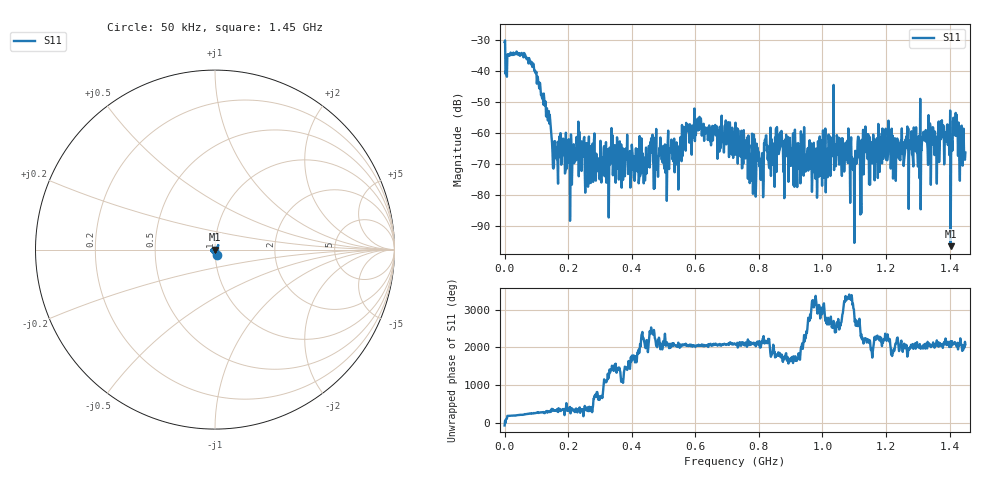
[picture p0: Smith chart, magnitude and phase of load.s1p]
! Created with skrf 1.11.0 (http://scikit-rf.org).
# Hz S RI R 50.0
!freq ReS11 ImS11
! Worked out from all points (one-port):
!   1001 points, 50 kHz to 1.45 GHz, reference 50 ohm
!   lowest |S11| = -96.5 dB at 1.404 GHz (marker M1), VSWR 1.00, Z = 50 + j0.0001 ohm
!   |S11| at or under -10 dB: start of sweep to end of sweep
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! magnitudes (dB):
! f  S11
! 50 kHz  -30.6
! 84.15 MHz  -37.2
! 139.2 MHz  -52.8
! 156.6 MHz  -62.5
! 181.3 MHz  -66.2
! 292.9 MHz  -72.0
! 362.5 MHz  -62.6
! 543.8 MHz  -69.5
! 571.3 MHz  -56.6
! 611.9 MHz  -58.8
! 725 MHz  -66.9
! 807.7 MHz  -68.2
! 823.6 MHz  -60.7
! 845.4 MHz  -67.4
! 864.2 MHz  -65.6
! 906.3 MHz  -64.2
! 1.011 GHz  -79.1
! 1.028 GHz  -62.4
! 1.088 GHz  -82.5
! 1.102 GHz  -71.8
! 1.138 GHz  -64.7
! 1.157 GHz  -69.7
! 1.269 GHz  -65.1
! 1.304 GHz  -60.8
! 1.321 GHz  -61.1
! 1.404 GHz  -96.5
! 1.418 GHz  -60.7
! 1.45 GHz  -66.2
